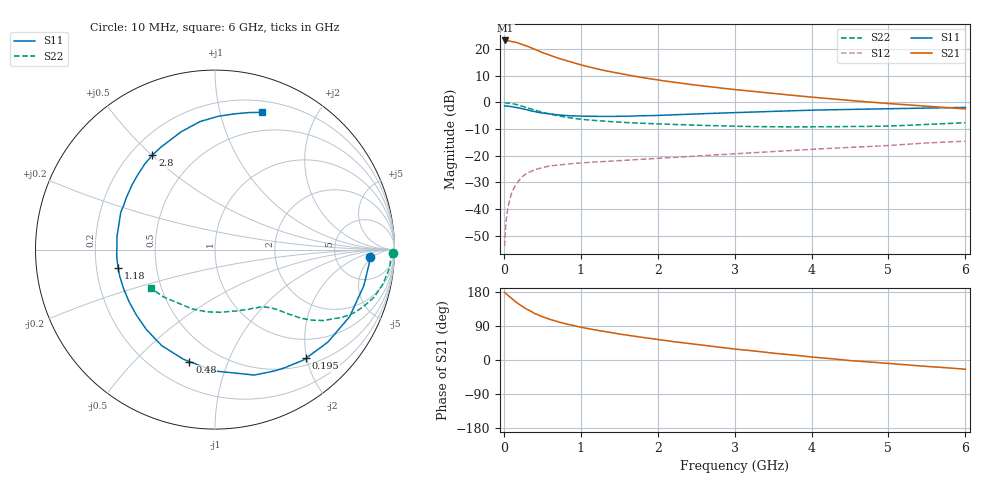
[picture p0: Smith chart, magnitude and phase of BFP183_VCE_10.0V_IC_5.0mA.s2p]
! Infineon Technologies  Discrete & RF Semiconductors
! BFP183
! VCE = 10.0V,  IC =  5.0 mA
! Common Emitter S-Parameters:  Jan 2016
# GHz  S  MA  R  50
!  f  S11  S21  S12  S22
! GHz  MAG  ANG  MAG  ANG  MAG  ANG  MAG  ANG
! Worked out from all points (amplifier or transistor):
!   210 points, 10 MHz to 6 GHz, reference 50 ohm
!   highest |S21| = 23.3 dB at 20 MHz (marker M1)
!   |S21| within 3 dB of that: start of sweep to 375 MHz
!   unconditionally stable (mu >= 1): 1.665 GHz to 5.829 GHz
!   at 185 MHz: K = 0.16, MSG = 26.0 dB, |S12| = -29.7 dB
!   at 1.52 GHz: K = 0.94, MSG = 16.3 dB, |S12| = -21.8 dB
!   at 6 GHz: K = 0.97, MSG = 6.1 dB, |S12| = -14.5 dB
!   S11 on the Smith chart (normalised r, x): 10 MHz: 13, -4; 195 MHz: 0.62, -1.99; 480 MHz: 0.35, -0.74; 1.18 GHz: 0.29, -0.08; 2.8 GHz: 0.29, +0.50; 6 GHz: 0.31, +1.35
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0.01  0.865 -2.6  14.55 178.1  0.002 78.0  0.9898 -1.1
0.02  0.862 -5.5  14.61 176.6  0.0039 83.1  0.9805 -2.3
0.05  0.8534 -13.6  14.56 171.0  0.0099 83.5  0.9791 -5.7
0.115  0.8261 -30.3  13.81 160.1  0.022 71.8  0.9463 -12.9
0.15  0.813 -39.4  13.57 154.2  0.0276 68.7  0.9256 -16.6
0.195  0.7898 -50.0  12.97 147.5  0.0341 64.2  0.8888 -20.6
0.24  0.7638 -59.7  12.24 141.3  0.0401 59.7  0.8532 -24.2
0.3  0.7325 -72.6  11.46 133.9  0.047 54.0  0.8001 -28.2
0.4  0.6759 -90.6  10.02 122.8  0.0545 47.5  0.7201 -33.3
0.48  0.6396 -102.9  8.929 116.1  0.0588 43.0  0.6683 -36.0
0.6  0.6119 -119.0  7.726 107.2  0.0643 38.7  0.6042 -38.9
0.7  0.5875 -130.4  6.832 101.0  0.0668 35.7  0.5629 -40.5
0.8  0.5703 -140.0  6.185 95.6  0.069 33.6  0.5304 -41.8
1.02  0.5526 -158.3  4.993 85.8  0.0734 31.4  0.4819 -43.9
1.18  0.5491 -169.4  4.385 79.7  0.0762 30.1  0.4595 -45.4
1.5  0.551 172.5  3.517 68.6  0.0809 29.6  0.4264 -48.5
2.02  0.5732 149.1  2.616 53.6  0.0897 29.7  0.396 -55.3
2.8  0.6317 123.5  1.874 33.5  0.1044 29.7  0.3661 -69.1
3.1  0.6507 115.4  1.689 27.0  0.111 29.6  0.3553 -75.5
4.1  0.7222 95.0  1.225 6.2  0.1342 26.8  0.3491 -100.2
5.1  0.7676 80.8  0.934 -10.6  0.1591 23.6  0.3651 -126.9
6  0.8086 71.1  0.757 -24.3  0.1876 17.5  0.4177 -149.0
